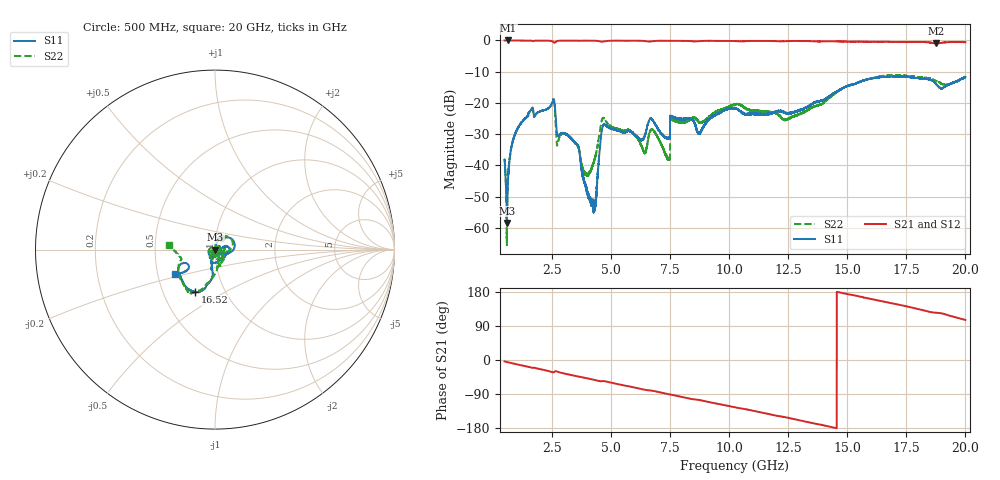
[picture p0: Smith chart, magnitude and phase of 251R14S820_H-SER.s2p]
!{251R14S820}
!Johanson Technology Inc.
!www.johansontechnology.com
!Test Board Conditions:
!Substrate Type  RO4350B
!Substrate Thickness  20 mil
!Substrate Dk  3.66
!TL Type: GCPW
!TL Trace Width  36 mil
!TL Gap  12 mil
!Electrode orientation  Horizontal
!DUT TOPOLOGY	SERIES
!Mounting Pad LxW  26x36 mil
! Created Wed Mar 11 15:53:17 2020
# mhz S ma R 50
! 2 Port Network Data from SP1.SP block
! freq  magS11  angS11  magS21  angS21  magS12  angS12  magS22  angS22
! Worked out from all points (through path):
!   19501 points, 500 MHz to 20 GHz, reference 50 ohm
!   highest |S21| = 0.00 dB at 658 MHz (marker M1); lowest = -0.9 dB at 18.76 GHz (marker M2)
!   group delay of S21, straight-line fit = 35 ps
!   lowest |S11| = -58.5 dB at 597 MHz (marker M3), VSWR 1.00, Z = 50.1 + j0.014 ohm
!   |S11| at or under -10 dB: start of sweep to end of sweep
!   |S22| runs from -65.9 to -11.0 dB; largest |S21 - S12| = 0.02
!   S11 on the Smith chart (normalised r, x): 500 MHz: 1.00, -0.02; 16.52 GHz: 0.72, -0.37; 20 GHz: 0.61, -0.18
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500  0.01232 -87.4  0.9985 -3.8  0.9979 -3.8  0.01225 -93.8
597  0.00119 6.8  0.9989 -5.4  0.9991 -5.4  0.0005969 156.0
658  0.007399 72.7  0.9999 -6.3  0.998 -6.3  0.007116 89.7
796  0.02014 75.2  0.9976 -8.4  0.9976 -8.3  0.02032 83.8
1077  0.04037 74.0  0.997 -12.3  0.9974 -12.3  0.04069 80.2
2530  0.1058 37.7  0.9639 -32.6  0.9639 -32.6  0.1025 45.0
2761  0.02958 17.4  0.9848 -31.4  0.9855 -31.3  0.02332 47.1
3545  0.02165 32.4  0.9932 -42.7  0.9939 -42.7  0.02204 43.4
3750  0.009136 14.6  0.9912 -45.0  0.9912 -45.0  0.01061 11.1
4264  0.002176 80.2  0.9906 -52.0  0.9915 -52.0  0.01076 -43.3
4707  0.0456 -117.0  0.9641 -55.7  0.9654 -55.7  0.05677 -101.5
6407  0.02814 -110.3  0.9797 -78.4  0.9807 -78.3  0.01616 -148.5
7000  0.03798 -124.4  0.9865 -84.3  0.9874 -84.3  0.02703 162.2
7403  0.02716 -86.3  0.9882 -89.8  0.9884 -89.8  0.01292 89.6
7598  0.06064 -25.8  0.9851 -92.2  0.9859 -92.2  0.05468 4.5
8740  0.03202 -2.4  0.9764 -105.6  0.9757 -105.6  0.04905 -74.8
10250  0.08234 -7.7  0.9781 -125.0  0.9779 -124.9  0.09492 -71.8
13500  0.09553 -100.9  0.9721 -166.3  0.9769 -166.3  0.08416 -68.1
16523  0.2604 -114.8  0.9506 154.3  0.9426 154.2  0.2701 -117.2
16750  0.2628 -118.5  0.9497 151.4  0.9437 151.1  0.279 -118.9
18757  0.2008 -157.3  0.8994 124.9  0.8987 125.0  0.2229 -154.2
20000  0.2619 -148.7  0.9367 105.6  0.9381 105.9  0.2572 174.1
